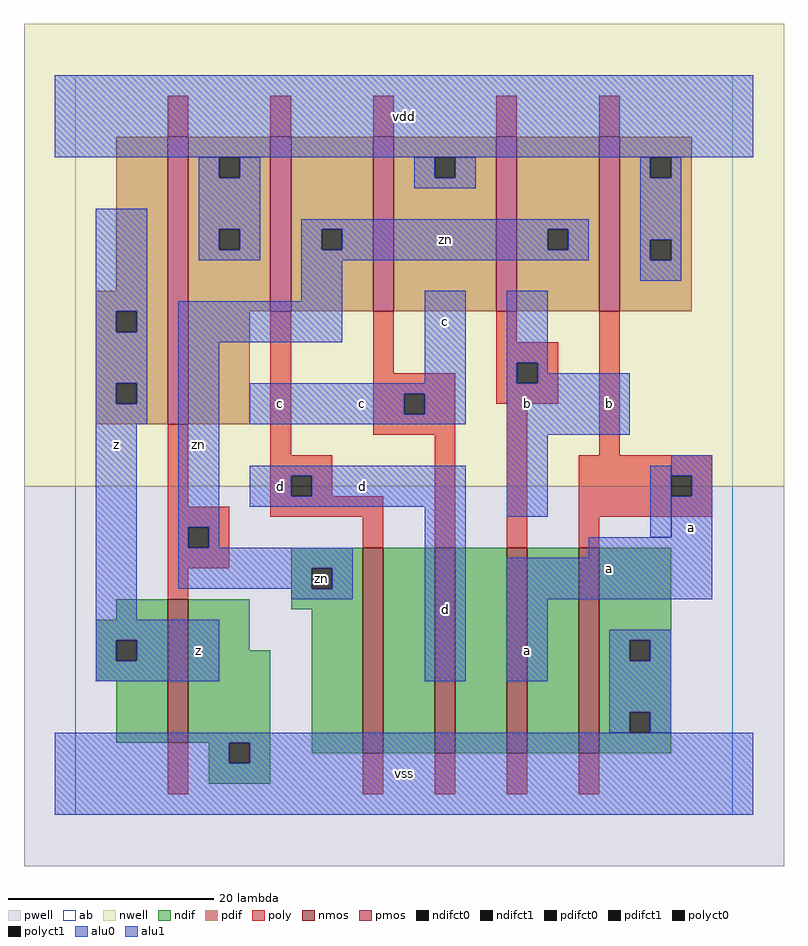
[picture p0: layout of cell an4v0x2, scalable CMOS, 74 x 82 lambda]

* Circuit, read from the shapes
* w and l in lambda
.subckt an4v0x2 a b c d vdd vss z zn
M1 vss zn z VSUBS nfet w=14 l=2
M2 n1 d zn VSUBS nfet w=20 l=2
M3 n2 c n1 VSUBS nfet w=20 l=2
M4 n3 b n2 VSUBS nfet w=20 l=2
M5 vss a n3 VSUBS nfet w=20 l=2
M6 vdd zn z n4 pfet w=28 l=2
M7 zn d vdd n4 pfet w=17 l=2
M8 vdd c zn n4 pfet w=17 l=2
M9 zn b vdd n4 pfet w=17 l=2
M10 vdd a zn n4 pfet w=17 l=2
.ends

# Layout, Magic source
magic
tech scmos
<< ab >>
rect 0 0 64 72
<< nwell >>
rect -5 32 69 77
<< pwell >>
rect -5 -5 69 32
<< poly >>
rect 9 66 11 70
rect 19 66 21 70
rect 29 66 31 70
rect 41 66 43 70
rect 51 66 53 70
rect 9 30 11 38
rect 19 35 21 49
rect 29 43 31 49
rect 41 46 43 49
rect 41 44 47 46
rect 29 41 37 43
rect 29 39 32 41
rect 34 39 37 41
rect 41 42 43 44
rect 45 42 47 44
rect 41 40 47 42
rect 29 37 37 39
rect 19 33 25 35
rect 19 31 21 33
rect 23 31 25 33
rect 9 28 15 30
rect 19 29 30 31
rect 9 26 11 28
rect 13 26 15 28
rect 28 26 30 29
rect 35 26 37 37
rect 42 26 44 40
rect 51 35 53 49
rect 49 33 62 35
rect 49 31 58 33
rect 60 31 62 33
rect 49 29 62 31
rect 49 26 51 29
rect 9 24 15 26
rect 9 21 11 24
rect 9 2 11 7
rect 28 2 30 6
rect 35 2 37 6
rect 42 2 44 6
rect 49 2 51 6
<< ndif >>
rect 21 24 28 26
rect 21 22 23 24
rect 25 22 28 24
rect 4 19 9 21
rect 2 17 9 19
rect 2 15 4 17
rect 6 15 9 17
rect 2 13 9 15
rect 4 7 9 13
rect 11 16 17 21
rect 21 20 28 22
rect 11 7 19 16
rect 13 5 15 7
rect 17 5 19 7
rect 23 6 28 20
rect 30 6 35 26
rect 37 6 42 26
rect 44 6 49 26
rect 51 17 58 26
rect 51 15 54 17
rect 56 15 58 17
rect 51 10 58 15
rect 51 8 54 10
rect 56 8 58 10
rect 51 6 58 8
rect 13 3 19 5
<< pdif >>
rect 4 51 9 66
rect 2 49 9 51
rect 2 47 4 49
rect 6 47 9 49
rect 2 42 9 47
rect 2 40 4 42
rect 6 40 9 42
rect 2 38 9 40
rect 11 64 19 66
rect 11 62 14 64
rect 16 62 19 64
rect 11 57 19 62
rect 11 55 14 57
rect 16 55 19 57
rect 11 49 19 55
rect 21 57 29 66
rect 21 55 24 57
rect 26 55 29 57
rect 21 49 29 55
rect 31 64 41 66
rect 31 62 35 64
rect 37 62 41 64
rect 31 49 41 62
rect 43 57 51 66
rect 43 55 46 57
rect 48 55 51 57
rect 43 49 51 55
rect 53 64 60 66
rect 53 62 56 64
rect 58 62 60 64
rect 53 56 60 62
rect 53 54 56 56
rect 58 54 60 56
rect 53 49 60 54
rect 11 38 17 49
<< alu1 >>
rect -2 64 66 72
rect 2 49 7 59
rect 2 47 4 49
rect 6 47 7 49
rect 2 42 7 47
rect 2 40 4 42
rect 6 40 7 42
rect 2 38 7 40
rect 2 19 6 38
rect 34 42 38 51
rect 17 41 38 42
rect 17 39 32 41
rect 34 39 38 41
rect 17 38 38 39
rect 42 44 46 51
rect 42 42 43 44
rect 45 43 46 44
rect 45 42 54 43
rect 42 37 54 42
rect 17 33 38 34
rect 17 31 21 33
rect 23 31 38 33
rect 17 30 38 31
rect 2 17 14 19
rect 2 15 4 17
rect 6 15 14 17
rect 2 13 14 15
rect 34 13 38 30
rect 42 29 46 37
rect 58 33 62 35
rect 60 31 62 33
rect 58 27 62 31
rect 50 25 62 27
rect 42 21 62 25
rect 42 13 46 21
rect -2 7 66 8
rect -2 5 15 7
rect 17 5 66 7
rect -2 0 66 5
<< nmos >>
rect 9 7 11 21
rect 28 6 30 26
rect 35 6 37 26
rect 42 6 44 26
rect 49 6 51 26
<< pmos >>
rect 9 38 11 66
rect 19 49 21 66
rect 29 49 31 66
rect 41 49 43 66
rect 51 49 53 66
<< polyct0 >>
rect 11 26 13 28
<< polyct1 >>
rect 32 39 34 41
rect 43 42 45 44
rect 21 31 23 33
rect 58 31 60 33
<< ndifct0 >>
rect 23 22 25 24
rect 54 15 56 17
rect 54 8 56 10
<< ndifct1 >>
rect 4 15 6 17
rect 15 5 17 7
<< pdifct0 >>
rect 14 62 16 64
rect 14 55 16 57
rect 24 55 26 57
rect 35 62 37 64
rect 46 55 48 57
rect 56 62 58 64
rect 56 54 58 56
<< pdifct1 >>
rect 4 47 6 49
rect 4 40 6 42
<< alu0 >>
rect 12 62 14 64
rect 16 62 18 64
rect 12 57 18 62
rect 33 62 35 64
rect 37 62 39 64
rect 33 61 39 62
rect 55 62 56 64
rect 58 62 59 64
rect 12 55 14 57
rect 16 55 18 57
rect 12 54 18 55
rect 22 57 50 58
rect 22 55 24 57
rect 26 55 46 57
rect 48 55 50 57
rect 22 54 50 55
rect 55 56 59 62
rect 55 54 56 56
rect 58 54 59 56
rect 22 50 26 54
rect 55 52 59 54
rect 10 46 26 50
rect 10 28 14 46
rect 10 26 11 28
rect 13 26 14 28
rect 10 24 27 26
rect 10 22 23 24
rect 25 22 27 24
rect 21 21 27 22
rect 56 27 58 34
rect 52 17 58 18
rect 52 15 54 17
rect 56 15 58 17
rect 52 10 58 15
rect 52 8 54 10
rect 56 8 58 10
<< labels >>
rlabel alu0 12 36 12 36 6 zn
rlabel ndifct0 24 23 24 23 6 zn
rlabel alu0 36 56 36 56 6 zn
rlabel alu1 12 16 12 16 6 z
rlabel alu1 4 36 4 36 6 z
rlabel alu1 20 32 20 32 6 d
rlabel alu1 28 32 28 32 6 d
rlabel alu1 20 40 20 40 6 c
rlabel alu1 28 40 28 40 6 c
rlabel alu1 32 4 32 4 6 vss
rlabel alu1 44 16 44 16 6 a
rlabel alu1 36 20 36 20 6 d
rlabel alu1 44 40 44 40 6 b
rlabel alu1 36 48 36 48 6 c
rlabel alu1 32 68 32 68 6 vdd
rlabel alu1 52 24 52 24 6 a
rlabel alu1 60 28 60 28 6 a
rlabel alu1 52 40 52 40 6 b
<< end >>
